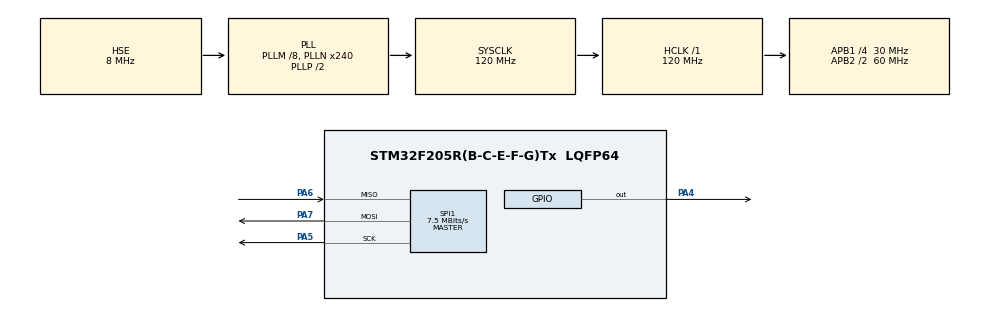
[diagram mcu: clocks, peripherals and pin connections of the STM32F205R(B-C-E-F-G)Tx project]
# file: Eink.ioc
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Mcu.Family=STM32F2
Mcu.Name=STM32F205R(B-C-E-F-G)Tx
Mcu.Package=LQFP64
NVIC.PriorityGroup=NVIC_PRIORITYGROUP_4
PA13.Mode=Serial-Wire
PA13.Signal=SYS_JTMS-SWDIO
PA14.Mode=Serial-Wire
PA14.Signal=SYS_JTCK-SWCLK
PA4.GPIO_ModeDefaultOutputPP=GPIO_MODE_OUTPUT_PP
PA4.GPIO_PuPd=GPIO_PULLUP
PA4.GPIO_Speed=GPIO_SPEED_FAST
PA4.Signal=GPIO_Output
PA5.Mode=Full_Duplex_Master
PA5.Signal=SPI1_SCK
PA6.Mode=Full_Duplex_Master
PA6.Signal=SPI1_MISO
PA7.Mode=Full_Duplex_Master
PA7.Signal=SPI1_MOSI
PH0-OSC_IN.Mode=HSE-External-Oscillator
PH0-OSC_IN.Signal=RCC_OSC_IN
PH1-OSC_OUT.Mode=HSE-External-Oscillator
PH1-OSC_OUT.Signal=RCC_OSC_OUT
ProjectManager.HeapSize=0x200
ProjectManager.StackSize=0x400
ProjectManager.TargetToolchain=MDK-ARM V5
RCC.48MHZClocksFreq_Value=60000000
RCC.AHBFreq_Value=120000000
RCC.APB1CLKDivider=RCC_HCLK_DIV4
RCC.APB1Freq_Value=30000000
RCC.APB1TimFreq_Value=60000000
RCC.APB2CLKDivider=RCC_HCLK_DIV2
RCC.APB2Freq_Value=60000000
RCC.APB2TimFreq_Value=120000000
RCC.CortexFreq_Value=120000000
RCC.EnbaleCSS=true
RCC.HCLKFreq_Value=120000000
RCC.HSE_VALUE=8000000
RCC.HSI_VALUE=16000000
RCC.LSE_VALUE=32768
RCC.PLLM=8
RCC.PLLN=240
RCC.PLLSourceVirtual=RCC_PLLSOURCE_HSE
RCC.SYSCLKFreq_VALUE=120000000
RCC.SYSCLKSource=RCC_SYSCLKSOURCE_PLLCLK
RCC.VCOOutputFreq_Value=240000000
SPI1.BaudRatePrescaler=SPI_BAUDRATEPRESCALER_8
SPI1.CRCCalculation=SPI_CRCCALCULATION_ENABLED
SPI1.CalculateBaudRate=7.5 MBits/s
SPI1.Mode=SPI_MODE_MASTER
board=Eink

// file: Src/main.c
#include "stm32f2xx_hal.h"

#include "spi.h"
#include "nRF24L01.h"
#include "nRF24L01_register_L.h"
#include "flash.h"
//#include "24l01.h"
#include "Eink.h"
//#include "EXTI.h"
#include "IIC.h"
#include "TPS65185.h"
#include "string.h"
void NRF_Init(void);

void SystemClock_Config(void);

const uint8_t addr[5] = {0x34,0x43,0x10,0x10,0x01};

const uint8_t start_flag[] = "A";
const uint8_t eof_flag[] = "EOF";

uint8_t Recivefile[120000];
uint32_t fpt = 0;

uint8_t rec_buff[33] = "";
uint32_t flag = 0;
#define __SEND while (nRF24L01_TxPack(&tpt) != _SET) { nRF24L01_Channel_Init(40); HAL_Delay(4);}

nRF24L01_TxStructure tpt = {
  .pSrc = 0,
  .Txnum = 0,
  .Rxnum = 0,
};

nRF24L01_RxStructure rpt = {
  .pRec = rec_buff
};

void cpy(void *des, void *src, uint32_t size) {
  uint8_t *dpt = (uint8_t *)des, *spt = (uint8_t *)src;
  while (--size) {
    *dpt = *spt;
    dpt++;
    spt++;
  }
}
int main(void)
{

  HAL_Init();
  /* Configure the system clock */
  SystemClock_Config();
  /* Initialize all configured peripherals */
	SYS_Init();
	NRF_Init();
  MX_SPI1_Init();
  TPS65185_Init();
  EPD_Init();
  make_wave_table();

  //nRF24L01 register init
  while (nRF24L01_Check() != _SET);
  nRF24L01_Init();
  nRF24L01_TxInit((uint8_t*)addr);
  nRF24L01_RxInit(P0, (uint8_t*)addr);
  nRF24L01_Channel_Init(40);
begin:
  while (1) {

    rpt.pRec = Recivefile;
    fpt = 0;
    flag = 0;

    while (fpt <= 120000) {

      nRF24L01_RxPack(&rpt, 0);

      /* Start flag */
      if (rpt.Rxnum == 1) {
				rpt.pRec[1] = 0;
				if (!strcmp((const char*)(rpt.pRec), (const char*)start_flag)){
					rpt.pRec = Recivefile;
					fpt = 0;
					flag = 1;
					continue;
				}
      }

      /* Eof flag */
      if (rpt.Rxnum == 3) {
				rpt.pRec[3] = 0;
				if (!strcmp((const char*)rpt.pRec, (const char*)eof_flag)) {
					if (!flag)
						goto begin;
					fpt = 0;
					flag = 0;
					break;
				}
      }

      if (rpt.Px != P0 || rpt.Rxnum != 32) {
        continue;
      }
      if (!flag)
				continue;

			//copy to ram buffer
			rpt.pRec += 32;

			//cpy(Recivefile + fpt, rpt.pRec, 32);
			fpt += 32;
    }
    //display
    EPD_Display_PIC(Recivefile);

  }
}

void SystemClock_Config(void)
{

  RCC_OscInitTypeDef RCC_OscInitStruct;
  RCC_ClkInitTypeDef RCC_ClkInitStruct;

  RCC_OscInitStruct.OscillatorType = RCC_OSCILLATORTYPE_HSE;
  RCC_OscInitStruct.HSEState = RCC_HSE_ON;
  RCC_OscInitStruct.PLL.PLLState = RCC_PLL_ON;
  RCC_OscInitStruct.PLL.PLLSource = RCC_PLLSOURCE_HSE;
  RCC_OscInitStruct.PLL.PLLM = 8;
  RCC_OscInitStruct.PLL.PLLN = 240;
  RCC_OscInitStruct.PLL.PLLP = RCC_PLLP_DIV2;
  RCC_OscInitStruct.PLL.PLLQ = 4;
  HAL_RCC_OscConfig(&RCC_OscInitStruct);

  RCC_ClkInitStruct.ClockType = RCC_CLOCKTYPE_SYSCLK|RCC_CLOCKTYPE_PCLK1
                              |RCC_CLOCKTYPE_PCLK2;
  RCC_ClkInitStruct.SYSCLKSource = RCC_SYSCLKSOURCE_PLLCLK;
  RCC_ClkInitStruct.AHBCLKDivider = RCC_SYSCLK_DIV1;
  RCC_ClkInitStruct.APB1CLKDivider = RCC_HCLK_DIV4;
  RCC_ClkInitStruct.APB2CLKDivider = RCC_HCLK_DIV2;
  HAL_RCC_ClockConfig(&RCC_ClkInitStruct, FLASH_LATENCY_3);

  HAL_RCC_EnableCSS();

  HAL_SYSTICK_Config(HAL_RCC_GetHCLKFreq()/1000);

  HAL_SYSTICK_CLKSourceConfig(SYSTICK_CLKSOURCE_HCLK);

  /* SysTick_IRQn interrupt configuration */
  HAL_NVIC_SetPriority(SysTick_IRQn, 0, 0);
}

/* USER CODE BEGIN 4 */
void NRF_Init(void)
{
	GPIO_InitTypeDef GPIO_InitStruct;

  /* GPIO Ports Clock Enable */
  __GPIOH_CLK_ENABLE();
  __GPIOA_CLK_ENABLE();
	__GPIOB_CLK_ENABLE();
  /*Configure GPIO pin : PA4 */
  GPIO_InitStruct.Pin = GPIO_PIN_0;
  GPIO_InitStruct.Mode = GPIO_MODE_INPUT;
  GPIO_InitStruct.Pull = GPIO_PULLUP;
  GPIO_InitStruct.Speed = GPIO_SPEED_HIGH;
  HAL_GPIO_Init(GPIOA, &GPIO_InitStruct);

	GPIO_InitStruct.Pin = GPIO_PIN_0;
  GPIO_InitStruct.Mode = GPIO_MODE_OUTPUT_PP;
  GPIO_InitStruct.Pull = GPIO_PULLUP;
  GPIO_InitStruct.Speed = GPIO_SPEED_HIGH;
  HAL_GPIO_Init(GPIOB, &GPIO_InitStruct);

	GPIO_InitStruct.Pin = GPIO_PIN_4;
  GPIO_InitStruct.Mode = GPIO_MODE_OUTPUT_PP;
  GPIO_InitStruct.Pull = GPIO_PULLUP;
  GPIO_InitStruct.Speed = GPIO_SPEED_HIGH;
  HAL_GPIO_Init(GPIOA, &GPIO_InitStruct);
}
/* USER CODE END 4 */

/************************ (C) COPYRIGHT STMicroelectronics *****END OF FILE****/
